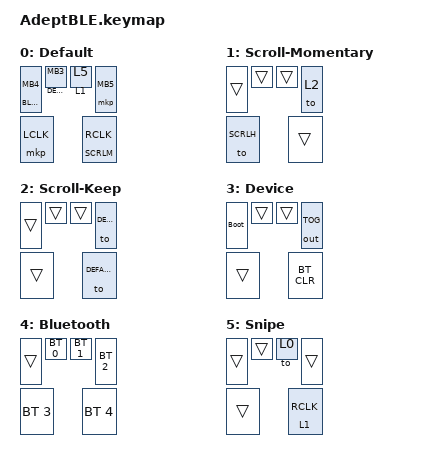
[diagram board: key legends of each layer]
#include <behaviors.dtsi>
#include <dt-bindings/zmk/bt.h>
#include <dt-bindings/zmk/keys.h>
#include <dt-bindings/zmk/outputs.h>
#include <dt-bindings/zmk/pointing.h>

// #include <dt-bindings/zmk/mouse.h>

#define DEFAULT 0
#define SCRLM 1
#define SCRLH 2
#define DEVICE 3
#define BLTH 4
#define SNIPE 5

/ {
    combos {
        compatible = "zmk,combos";

        combo_esc {
            timeout-ms = <50>;
            key-positions = <2 3>;
            bindings = <&kp ESC>;
        };

        combo_bootloader {
            bindings = <&bootloader>;
            key-positions = <0 4 3 5>;
        };

        combo_ble_nextprofile {
            bindings = <&bt BT_NXT>;
            key-positions = <0 1 2 3>;
        };

        combo_missioncontrol {
            bindings = <&kp LC(UP_ARROW)>;
            key-positions = <4 5>;
        };

        combo_middleclick {
            bindings = <&mkp MCLK>;
            key-positions = <0 3>;
        };
    };

    behaviors {
        ltm: layer-tap-momentary {
            compatible = "zmk,behavior-hold-tap";
            #binding-cells = <2>;
            flavor = "tap-preferred";
            tapping-term-ms = <200>;
            bindings = <&mo>, <&mkp>;
        };

        lth: layer-tap-hold-while-undecided {
            compatible = "zmk,behavior-hold-tap";
            #binding-cells = <2>;
            flavor = "hold-preferred";
            hold-while-undecided;
            tapping-term-ms = <150>;
            bindings = <&mo>, <&mkp>;
        };

        mto: momentary-or-toggle {
            compatible = "zmk,behavior-hold-tap";
            #binding-cells = <2>;
            flavor = "hold-preferred";
            hold-while-undecided;
            tapping-term-ms = <200>;
            bindings = <&mo>, <&to>;
        };
    };

    keymap {
        compatible = "zmk,keymap";

        default_layer {
            display-name = "Default";
            bindings = <
&ltm BLTH MB4  &ltm DEVICE MB3  &mto 1 5  &mkp MB5


&mkp LCLK                                 &ltm SCRLM RCLK
            >;
        };

        scroll_tap_layer {
            display-name = "Scroll-Momentary";
            bindings = <
&trans     &trans  &trans  &to 2


&to SCRLH                  &trans
            >;
        };

        scroll_hold_layer {
            display-name = "Scroll-Keep";
            bindings = <
&trans  &trans  &trans  &to DEFAULT


&trans                  &to DEFAULT
            >;
        };

        device_layer {
            display-name = "Device";
            bindings = <
&bootloader  &trans  &trans  &out OUT_TOG


&trans                       &bt BT_CLR
            >;
        };

        bluetooth_layer {
            display-name = "Bluetooth";
            bindings = <
&trans        &bt BT_SEL 0  &bt BT_SEL 1  &bt BT_SEL 2


&bt BT_SEL 3                              &bt BT_SEL 4
            >;
        };

        snipe_layer {
            display-name = "Snipe";
            bindings = <
&trans  &trans  &to 0  &trans


&trans                 &lth 1 RCLK
            >;
        };
    };
};
